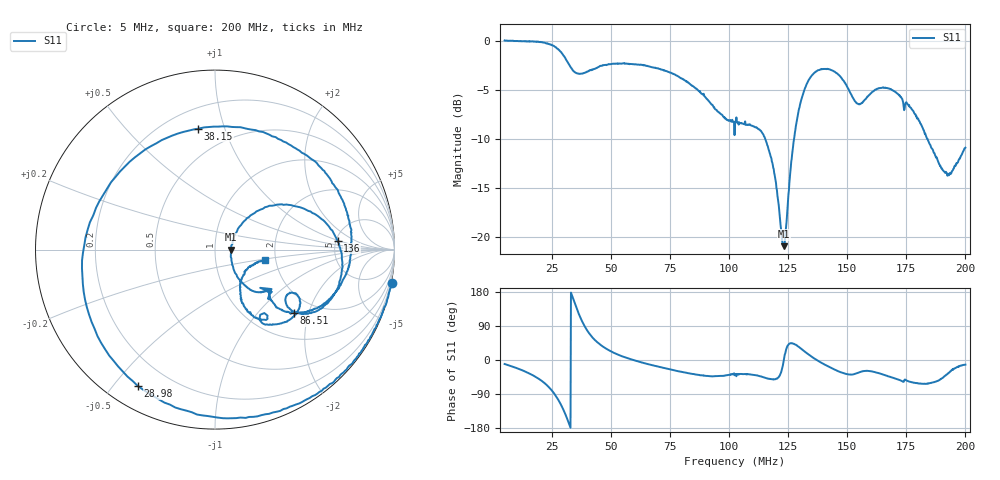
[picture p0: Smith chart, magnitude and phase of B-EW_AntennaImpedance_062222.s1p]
!Keysight Technologies N9917A: A.12.46
!Date: Wednesday, 22 June 2022 17:36:24
!TimeZone: (UTC) Coordinated Universal Time!Model: N9917A
!Serial: MY56071016
!GPS Latitude:
!GPS Longitude:
!GPS TimeStamp: 0001-01-01 00:00:00Z
!GPS Seconds Since Last Read: 0
!CHECKSUM:0641549428
!Correction: S11(ON U)
!S1P File: Measurement: S11:
# Hz S DB R 50
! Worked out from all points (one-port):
!   1001 points, 5 MHz to 200 MHz, reference 50 ohm
!   lowest |S11| = -21.0 dB at 123.2 MHz (marker M1), VSWR 1.20, Z = 59.8 - j0.016 ohm
!   |S11| at or under -10 dB: 115.3 MHz to 127.5 MHz (12.23 MHz wide, 10.1 % of centre); 183.8 MHz to end of sweep
!   S11 on the Smith chart (normalised r, x): 5 MHz: -0, -11; 28.98 MHz: 0.09, -0.58; 38.15 MHz: 0.33, +0.82; 86.51 MHz: 1.55, -1.60; 136 MHz: 5.16, +0.97; 200 MHz: 1.75, -0.23
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5000000  0.03 -10.6
1.358e7  -0.04 -30.1
1.982e7  -0.12 -51.3
2.5475e7  -0.50 -84.3
2.8985e7  -1.18 -119.6
2.9375e7  -1.32 -124.6
3.152e7  -2.13 -155.8
3.3275e7  -2.80 174.6
3.581e7  -3.34 131.1
3.815e7  -3.35 98.0
4.127e7  -3.00 66.4
4.478e7  -2.68 44.1
5.375e7  -2.32 12.1
7.8125e7  -3.60 -29.0
8.651e7  -4.99 -38.8
1.025e8  -8.26 -37.4
1.1498e8  -9.82 -46.7
1.2317e8  -20.98 -0.1
1.26875e8  -11.23 43.9
1.30775e8  -5.85 28.2
1.3604e8  -3.29 4.2
1.4501e8  -3.23 -26.1
1.5125e8  -5.33 -38.4
1.56905e8  -6.19 -29.2
1.63535e8  -4.83 -35.2
1.75625e8  -6.50 -55.6
1.92005e8  -13.51 -38.3
2e8  -10.93 -12.2
